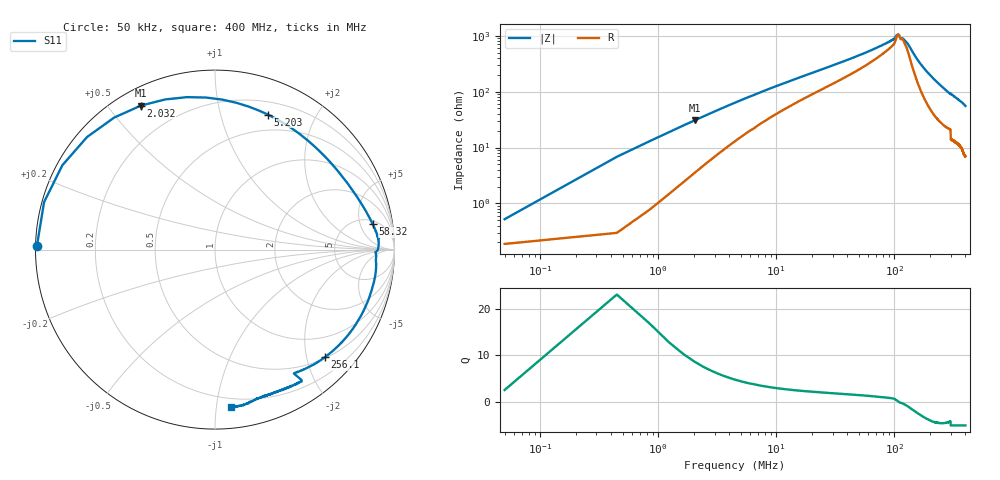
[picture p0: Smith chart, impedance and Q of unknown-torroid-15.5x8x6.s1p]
# HZ S RI R 50
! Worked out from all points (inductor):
!   1010 points, 50 kHz to 400 MHz, reference 50 ohm
!   read as one part to ground: L = 2.32 uH near 2.032 MHz
!   highest Q = 4.83 at 2.032 MHz (marker M1), where L = 2.38 uH
!   self-resonance near 109.5 MHz
!   S11 on the Smith chart (normalised r, x): 50 kHz: 0.00, +0.01; 2.032 MHz: 0.07, +0.61; 5.203 MHz: 0.33, +1.41; 58.32 MHz: 6, +8; 256.1 MHz: 0.52, -2.35; 400 MHz: 0.14, -1.10
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50000  -0.9923 0.0193
842700  -0.8503 0.4702
2031900  -0.4137 0.802
2428200  -0.2772 0.8367
3221000  -0.0504 0.8472
4013800  0.1191 0.818
5202900  0.2944 0.7524
6788500  0.4393 0.6675
9166800  0.5663 0.5639
1.19414e7  0.6491 0.479
1.59053e7  0.7174 0.3972
2.14546e7  0.7713 0.323
2.89859e7  0.8135 0.2592
5.039058e7  0.8685 0.1628
5.831828e7  0.879 0.1407
1.003348e8  0.9106 0.0583
1.106408e8  0.903 -0.00731
1.502791e8  0.8839 -0.1865
2.002234e8  0.789 -0.4097
2.501676e8  0.6328 -0.5835
2.561133e8  0.611 -0.6004
2.977336e8  0.4467 -0.6858
3.001119e8  0.4822 -0.7264
3.020938e8  0.4748 -0.7356
3.088323e8  0.4513 -0.7497
3.500562e8  0.2987 -0.8078
3.778029e8  0.1973 -0.8495
4.000004e8  0.0908 -0.8775
